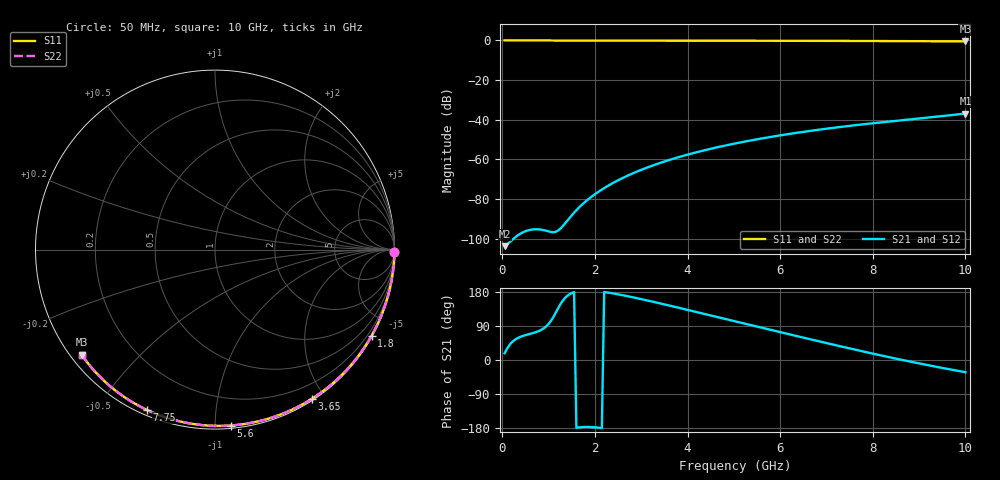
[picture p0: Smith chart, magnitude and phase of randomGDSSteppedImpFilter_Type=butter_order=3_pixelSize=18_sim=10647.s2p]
! freq	dB(S11)	phase(S11)	dB(S12)	phase(S12)
!  dB(S21)	phase(S21)	dB(S22)	phase(S22)
!S-par simulation data
#  GHz  S  DB  R 50
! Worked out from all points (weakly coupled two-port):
!   200 points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, 50 MHz to 10 GHz, reference 50 ohm
!   highest |S21| = -36.84 dB at 10 GHz (marker M1); lowest = -103.8 dB at 50 MHz (marker M2)
!   lowest |S11| = -0.5 dB at 10 GHz (marker M3), VSWR 36.05, Z = 1.55 - j17.3 ohm
!   |S11| at or under -10 dB: nowhere
!   |S22| runs from -0.5 to 0.0 dB; largest |S21 - S12| = 0
!   S11 on the Smith chart (normalised r, x): 50 MHz: open; 1.8 GHz: 0.03, -3.88; 3.65 GHz: 0.02, -1.84; 5.6 GHz: 0.02, -1.09; 7.75 GHz: 0.02, -0.66; 10 GHz: 0.03, -0.35
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0.05  -0.00 -0.8  -103.75 17.7  -103.75 17.7  -0.00 -0.8
0.45  -0.01 -7.3  -96.73 63.7  -96.73 63.7  -0.01 -7.3
0.9  -0.02 -14.6  -95.70 84.0  -95.70 84.0  -0.02 -14.6
1.75  -0.04 -28.1  -82.20 -176.8  -82.20 -176.8  -0.04 -28.1
1.8  -0.04 -28.9  -81.18 -176.6  -81.18 -176.6  -0.04 -28.9
1.85  -0.04 -29.7  -80.21 -176.6  -80.21 -176.6  -0.04 -29.7
2.2  -0.04 -35.1  -74.46 179.5  -74.46 179.5  -0.04 -35.1
2.35  -0.05 -37.5  -72.39 176.6  -72.39 176.6  -0.05 -37.5
2.55  -0.05 -40.6  -69.93 172.2  -69.93 172.2  -0.05 -40.6
2.95  -0.06 -46.7  -65.72 162.1  -65.72 162.1  -0.06 -46.7
3.4  -0.07 -53.4  -61.82 149.6  -61.82 149.6  -0.07 -53.4
3.65  -0.08 -57.1  -59.95 142.5  -59.95 142.5  -0.08 -57.1
4.3  -0.09 -66.6  -55.76 123.5  -55.76 123.5  -0.09 -66.6
5.05  -0.12 -77.2  -51.85 101.4  -51.85 101.4  -0.12 -77.2
5.6  -0.14 -84.8  -49.44 85.3  -49.44 85.3  -0.14 -84.8
6.15  -0.16 -92.3  -47.32 69.2  -47.32 69.2  -0.16 -92.2
6.7  -0.19 -99.5  -45.44 53.3  -45.44 53.3  -0.19 -99.5
7.2  -0.22 -106.0  -43.91 39.0  -43.91 39.0  -0.22 -106.0
7.75  -0.26 -113.1  -42.40 23.7  -42.40 23.7  -0.26 -113.1
8.35  -0.31 -120.7  -40.90 7.5  -40.90 7.5  -0.31 -120.7
9.15  -0.38 -130.8  -39.01 -12.7  -39.01 -12.7  -0.38 -130.8
10  -0.48 -141.7  -36.84 -32.3  -36.84 -32.3  -0.48 -141.8
